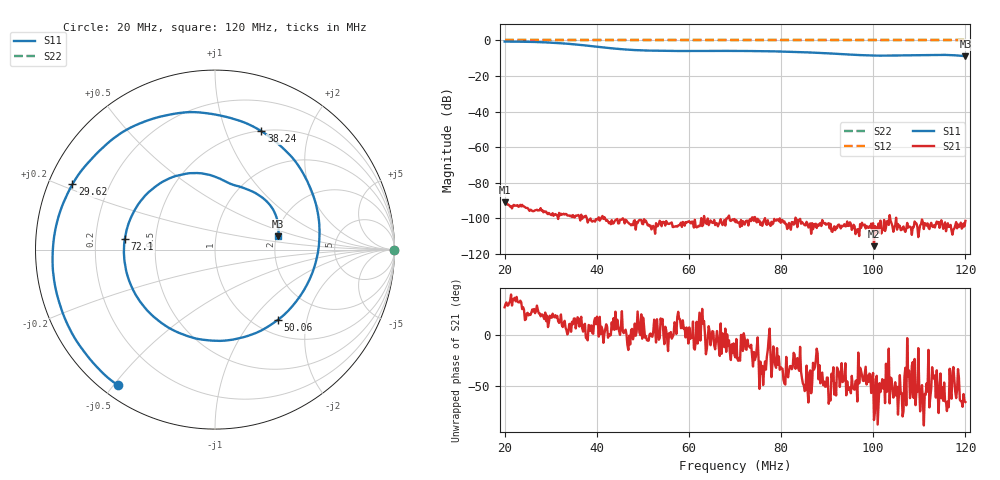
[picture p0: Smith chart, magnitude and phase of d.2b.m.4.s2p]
! Anritsu VNA Master:  Model: MS2036C/10/77
! SN:  1601066
! /card0/usr/18may27.balun/252b.m4.s2p
! Existing Calibration Information:
! TYPE:  Current Settings,  Active Cal Settings
! TIME:  05/27/2018 12:53:22 PM,  05/27/2018 12:49:51 PM
! INTERNAL TEMP:  52.5 C,  52.5 C
! # POINTS:  500,  500
! START FREQ:  20.000 MHz,  20.000 MHz
! STOP FREQ:  120.000 MHz,  120.000 MHz
! SOURCE POWER:  High,  High
! IFBW:  50 Hz,  50 Hz
! AVG FACTOR:  1 ,  1
! REF PLANE 1:  0 mm,  0 mm
! REF PLANE 2:  0 mm,  0 mm
! CAL TYPE:  Full S11,  Full S11
! CAL METHOD:  SOLT,  SOLT
! CAL LINE TYPE:  Coax,  Coax
! DUT PORT 1:  K-Conn(M),  K-Conn(M)
! DUT PORT 2:  K-Conn(M),  K-Conn(M)
! CAL STATUS:  OK: Accuracy High,  --
# GHZ S DB R 50.0
! FREQ.GHZ  S11DB  S11A  S21DB  S21A  S12DB  S12A  S22DB  S22A
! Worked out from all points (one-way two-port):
!   500 points, 20 MHz to 120 MHz, reference 50 ohm
!   highest |S21| = -90.94 dB at 20 MHz (marker M1); lowest = -115.6 dB at 100.2 MHz (marker M2)
!   lowest |S11| = -8.9 dB at 120 MHz (marker M3), VSWR 2.12, Z = 102 + j17.3 ohm
!   |S11| at or under -10 dB: nowhere
!   |S22| runs from 0.0 to 0.0 dB; largest |S21 - S12| = 1
!   S11 on the Smith chart (normalised r, x): 20 MHz: 0.05, -0.51; 29.62 MHz: 0.07, +0.22; 38.24 MHz: 0.51, +1.34; 50.06 MHz: 1.25, -1.36; 72.1 MHz: 0.33, +0.05; 120 MHz: 2.05, +0.35
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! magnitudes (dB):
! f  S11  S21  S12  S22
! 20 MHz  -0.6  -90.9  0.0  0.0
! 25.81 MHz  -0.8  -95.3  0.0  0.0
! 29.62 MHz  -1.2  -96.9  0.0  0.0
! 32.83 MHz  -1.7  -97.3  0.0  0.0
! 36.83 MHz  -2.6  -100.2  0.0  0.0
! 38.24 MHz  -3.0  -101.0  0.0  0.0
! 41.84 MHz  -4.0  -100.1  0.0  0.0
! 44.65 MHz  -4.8  -102.8  0.0  0.0
! 47.45 MHz  -5.3  -103.9  0.0  0.0
! 50.06 MHz  -5.6  -103.2  0.0  0.0
! 53.47 MHz  -5.8  -103.1  0.0  0.0
! 58.28 MHz  -5.9  -102.4  0.0  0.0
! 70.1 MHz  -5.9  -102.1  0.0  0.0
! 72.1 MHz  -5.9  -103.4  0.0  0.0
! 79.52 MHz  -6.2  -101.5  0.0  0.0
! 86.73 MHz  -6.8  -102.7  0.0  0.0
! 96.75 MHz  -8.2  -106.1  0.0  0.0
! 100.2 MHz  -8.5  -115.6  0.0  0.0
! 103.4 MHz  -8.5  -103.6  0.0  0.0
! 114.8 MHz  -8.1  -101.0  0.0  0.0
! 117.6 MHz  -8.3  -105.7  0.0  0.0
! 120 MHz  -8.9  -101.4  0.0  0.0
